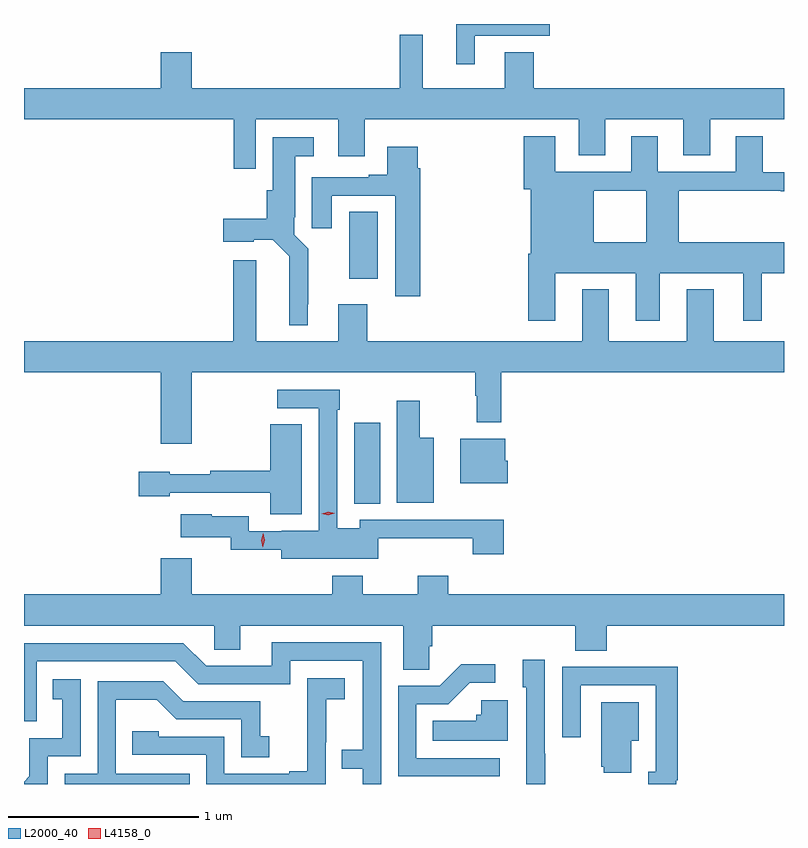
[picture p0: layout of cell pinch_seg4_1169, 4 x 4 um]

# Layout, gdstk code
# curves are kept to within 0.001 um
import gdstk
lib = gdstk.Library(unit=1e-6, precision=1e-09)
def R(c, l, rs):  # rectangles x0, y0, x1, y1
    for r in rs: c.add(gdstk.rectangle(r[:2], r[2:], *l))
def P(c, l, *ps):  # polygons
    for p in ps: c.add(gdstk.Polygon(p, *l))
L2000_40 = (2000, 40)
L4158_0 = (4158, 0)

pinch_seg4_1169 = lib.new_cell('pinch_seg4_1169')
R(pinch_seg4_1169, L2000_40, [(417.773,772.153,417.91,772.579), (417.749,773.337,417.898,773.69)])
P(pinch_seg4_1169, L2000_40, [(418.408,774.615),(418.804,774.615),(418.804,774.678),(418.31,774.678),(418.31,774.465),(418.408,774.465)],
  [(417.255,774.176),(417.689,774.176),(417.689,773.982),(417.829,773.982),(417.829,774.176),(418.955,774.176),(418.955,773.986),(419.095,773.986),(419.095,774.176),(419.507,774.176),(419.507,773.986),(419.647,773.986),(419.647,774.176),(420.036,774.176),(420.036,774.34),(418.718,774.34),(418.718,774.53),(418.565,774.53),(418.565,774.34),(418.135,774.34),(418.135,774.622),(418.014,774.622),(418.014,774.34),(416.92,774.34),(416.92,774.529),(416.756,774.529),(416.756,774.34),(416.036,774.34),(416.036,774.176),(417.139,774.176),(417.139,773.916),(417.255,773.916)],
  [(418.691,773.47),(418.691,773.115),(418.831,773.115),(418.831,773.366),(419.255,773.366),(419.255,773.115),(419.383,773.115),(419.383,773.366),(419.822,773.366),(419.822,773.115),(419.92,773.115),(419.92,773.366),(420.036,773.366),(420.036,773.53),(419.483,773.53),(419.483,773.8),(420.019,773.8),(420.019,773.798),(420.036,773.798),(420.036,773.898),(419.923,773.898),(419.923,774.088),(419.783,774.088),(419.783,773.901),(419.371,773.901),(419.371,774.088),(419.231,774.088),(419.231,773.901),(418.831,773.901),(418.831,774.088),(418.667,774.088),(418.667,773.808),(418.703,773.808),(418.703,773.53),(419.035,773.53),(419.035,773.8),(419.312,773.8),(419.312,773.53),(419.035,773.53),(418.703,773.53),(418.703,773.47)],
  [(417.529,773.203),(417.533,773.203),(417.533,773.494),(417.459,773.568),(417.459,773.662),(417.463,773.662),(417.463,773.981),(417.562,773.981),(417.562,774.082),(417.344,774.082),(417.344,773.802),(417.314,773.802),(417.314,773.653),(417.084,773.653),(417.084,773.531),(417.246,773.531),(417.246,773.543),(417.345,773.543),(417.432,773.456),(417.431,773.093),(417.529,773.093)],
  [(418.121,773.918),(418.108,773.918),(418.108,774.031),(417.947,774.031),(417.947,773.884),(417.851,773.884),(417.851,773.871),(417.551,773.871),(417.551,773.604),(417.655,773.604),(417.655,773.775),(417.989,773.775),(417.989,773.244),(418.121,773.244)],
  [(418.411,772.721),(418.419,772.721),(418.419,772.581),(418.547,772.581),(418.547,772.844),(420.036,772.844),(420.036,773.008),(419.665,773.008),(419.665,773.281),(419.525,773.281),(419.525,773.008),(419.113,773.008),(419.113,773.281),(418.973,773.281),(418.973,773.008),(417.842,773.008),(417.842,773.203),(417.689,773.203),(417.689,773.008),(417.259,773.008),(417.259,773.434),(417.137,773.434),(417.137,773.008),(416.036,773.008),(416.036,772.844),(416.756,772.844),(416.756,772.47),(416.92,772.47),(416.92,772.844),(418.411,772.844)],
  [(417.9,771.971),(418.397,771.971),(418.397,771.888),(418.562,771.888),(418.562,772.07),(418.313,772.07),(418.313,772.068),(417.804,772.068),(417.804,772.024),(417.684,772.024),(417.684,772.649),(417.697,772.649),(417.697,772.752),(417.369,772.752),(417.369,772.656),(417.588,772.656),(417.588,772.012),(417.393,772.012),(417.393,772.008),(417.219,772.008),(417.219,772.086),(417.024,772.086),(417.024,772.099),(416.862,772.099),(416.862,771.977),(417.123,771.977),(417.123,771.91),(417.389,771.91),(417.389,771.863),(417.9,771.863)],
  [(418.192,772.501),(418.12,772.501),(418.12,772.696),(417.998,772.696),(417.998,772.157),(418.192,772.157)],
  [(417.499,772.571),(417.332,772.571),(417.332,772.328),(417.016,772.328),(417.016,772.309),(416.802,772.309),(416.802,772.321),(416.64,772.321),(416.64,772.192),(416.802,772.192),(416.802,772.212),(417.332,772.212),(417.332,772.097),(417.499,772.097)],
  [(418.582,772.38),(418.57,772.38),(418.57,772.495),(418.331,772.495),(418.331,772.262),(418.582,772.262)],
  [(418.17,771.403),(418.184,771.403),(418.184,771.512),(418.937,771.512),(418.937,771.379),(419.102,771.379),(419.102,771.512),(420.036,771.512),(420.036,771.676),(418.268,771.676),(418.268,771.775),(418.108,771.775),(418.108,771.676),(417.819,771.676),(417.819,771.775),(417.659,771.775),(417.659,771.676),(416.92,771.676),(416.92,771.865),(416.756,771.865),(416.756,771.676),(416.036,771.676),(416.036,771.512),(417.036,771.512),(417.036,771.385),(417.175,771.385),(417.175,771.512),(418.031,771.512),(418.031,771.28),(418.17,771.28)],
  [(417.915,771.423),(417.341,771.423),(417.341,771.3),(416.994,771.3),(416.874,771.42),(416.036,771.42),(416.036,771.009),(416.103,771.009),(416.103,771.324),(416.832,771.324),(416.952,771.204),(417.438,771.204),(417.438,771.327),(417.819,771.327),(417.819,770.858),(417.709,770.858),(417.709,770.757),(417.819,770.757),(417.819,770.678),(417.915,770.678)],
  [(418.779,770.837),(418.776,770.837),(418.776,771.331),(418.661,771.331),(418.661,771.186),(418.68,771.186),(418.68,770.678),(418.779,770.678)],
  [(418.54,770.814),(418.101,770.814),(418.101,771.099),(418.27,771.099),(418.381,771.21),(418.516,771.21),(418.516,771.308),(418.337,771.308),(418.224,771.195),(418.005,771.195),(418.005,770.718),(418.54,770.718)],
  [(419.47,770.698),(419.477,770.698),(419.477,771.296),(419.185,771.296),(419.185,771.294),(418.869,771.294),(418.869,770.925),(418.965,770.925),(418.965,771.198),(419.361,771.198),(419.361,770.742),(419.321,770.742),(419.321,770.678),(419.47,770.678)],
  [(417.624,770.897),(417.626,770.897),(417.626,771.125),(417.724,771.125),(417.724,771.235),(417.526,771.235),(417.526,771.029),(417.527,771.029),(417.527,770.746),(417.431,770.746),(417.431,770.733),(417.09,770.733),(417.09,770.928),(416.745,770.928),(416.745,770.955),(416.605,770.955),(416.605,770.832),(416.994,770.832),(416.994,770.678),(417.624,770.678)],
  [(416.16,770.823),(416.334,770.823),(416.334,771.229),(416.188,771.229),(416.188,771.123),(416.237,771.123),(416.237,770.919),(416.064,770.919),(416.064,770.718),(416.036,770.69),(416.036,770.678),(416.16,770.678)],
  [(416.909,770.733),(416.52,770.733),(416.52,771.122),(416.734,771.122),(416.838,771.018),(417.18,771.018),(417.18,770.82),(417.328,770.82),(417.328,770.929),(417.279,770.929),(417.279,771.114),(416.875,771.114),(416.77,771.219),(416.424,771.219),(416.424,770.733),(416.25,770.733),(416.25,770.678),(416.909,770.678)],
  [(418.582,771.118),(418.443,771.118),(418.443,771.042),(418.417,771.042),(418.417,771.01),(418.186,771.01),(418.186,770.906),(418.582,770.906)],
  [(419.233,770.906),(419.272,770.906),(419.272,771.109),(419.075,771.109),(419.075,770.769),(419.087,770.769),(419.087,770.738),(419.233,770.738)])
P(pinch_seg4_1169, L4158_0, [(417.293,771.925),(417.293,771.925),(417.284,771.961),(417.295,771.997),(417.295,771.997),(417.296,771.997),(417.304,771.961),(417.293,771.925)],
  [(417.637,772.092),(417.602,772.1),(417.601,772.101),(417.602,772.101),(417.636,772.112),(417.671,772.103),(417.671,772.103),(417.671,772.103)])

lib.write_gds('pinch_seg4_1169.gds')
